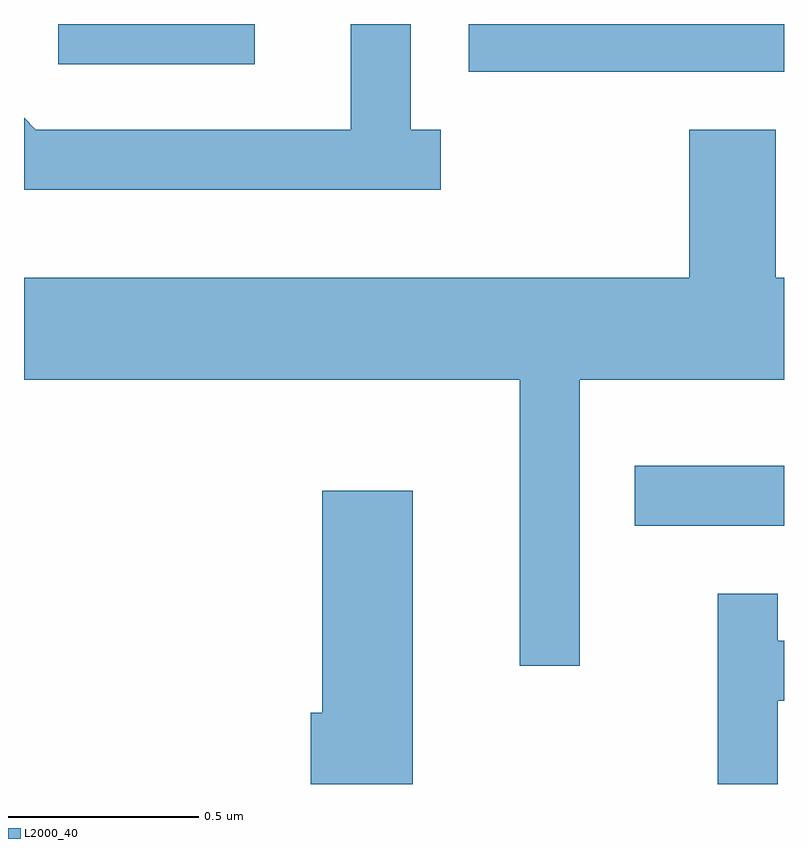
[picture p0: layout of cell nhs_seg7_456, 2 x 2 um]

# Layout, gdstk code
import gdstk
lib = gdstk.Library(unit=1e-6, precision=1e-09)
def R(c, l, rs):  # rectangles x0, y0, x1, y1
    for r in rs: c.add(gdstk.rectangle(r[:2], r[2:], *l))
def P(c, l, *ps):  # polygons
    for p in ps: c.add(gdstk.Polygon(p, *l))
L2000_40 = (2000, 40)

nhs_seg7_456 = lib.new_cell('nhs_seg7_456')
R(nhs_seg7_456, L2000_40, [(190.218,1713.931,190.611,1714.089), (189.781,1715.126,190.611,1715.252), (188.701,1715.146,189.218,1715.252)])
P(nhs_seg7_456, L2000_40, [(189.708,1714.974),(189.629,1714.974),(189.629,1715.252),(189.471,1715.252),(189.471,1714.974),(188.642,1714.974),(188.611,1715.005),(188.611,1714.816),(189.708,1714.816)],
  [(190.074,1714.316),(190.611,1714.316),(190.611,1714.584),(190.589,1714.584),(190.589,1714.974),(190.361,1714.974),(190.361,1714.584),(188.611,1714.584),(188.611,1714.316),(189.916,1714.316),(189.916,1713.563),(190.074,1713.563)],
  [(189.634,1714.024),(189.396,1714.024),(189.396,1713.439),(189.366,1713.439),(189.366,1713.252),(189.634,1713.252)],
  [(190.594,1713.471),(190.611,1713.471),(190.611,1713.629),(190.594,1713.629),(190.594,1713.753),(190.436,1713.753),(190.436,1713.252),(190.594,1713.252)])

lib.write_gds('nhs_seg7_456.gds')
